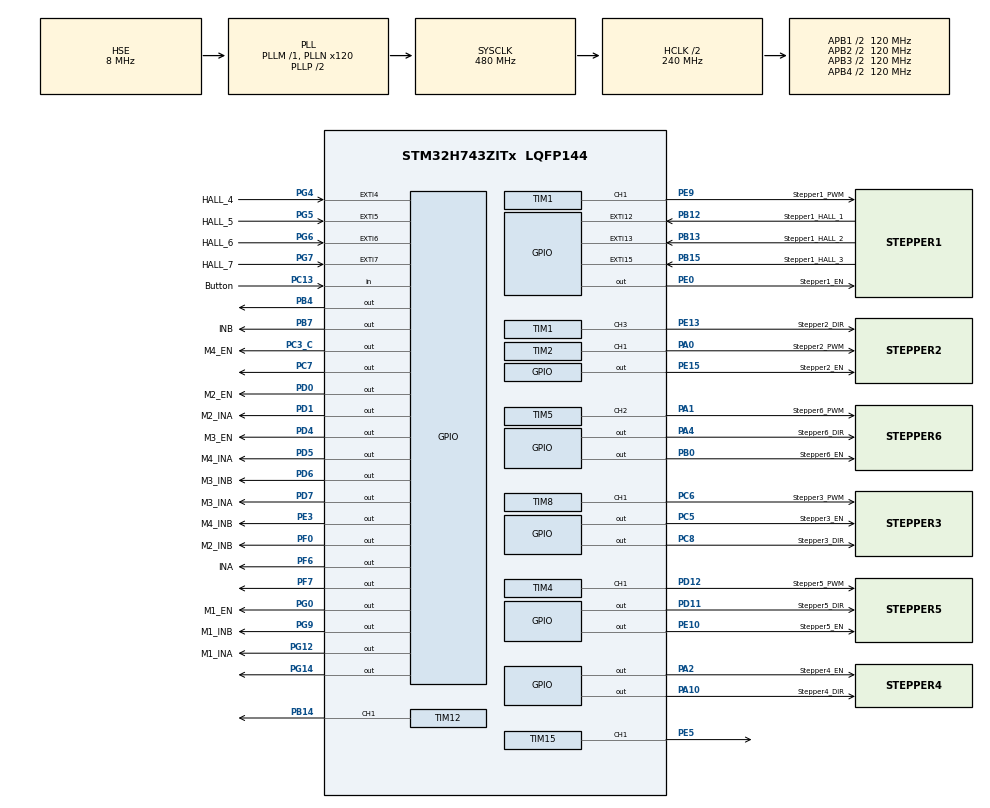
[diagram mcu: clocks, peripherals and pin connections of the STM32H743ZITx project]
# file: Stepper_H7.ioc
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Mcu.Family=STM32H7
Mcu.Name=STM32H743ZITx
Mcu.Package=LQFP144
NVIC.EXTI15_10_IRQn=true\:0\:0\:false\:false\:true\:true\:true
NVIC.EXTI4_IRQn=true\:0\:0\:false\:false\:true\:true\:true
NVIC.EXTI9_5_IRQn=true\:0\:0\:false\:false\:true\:true\:true
NVIC.PriorityGroup=NVIC_PRIORITYGROUP_4
PA0.GPIO_Label=Stepper2_PWM
PA0.Signal=S_TIM2_CH1
PA1.GPIO_Label=Stepper6_PWM
PA1.Signal=S_TIM5_CH2
PA10.GPIO_Label=Stepper4_DIR
PA10.Signal=GPIO_Output
PA13\ (JTMS/SWDIO).Mode=Serial_Wire
PA13\ (JTMS/SWDIO).Signal=DEBUG_JTMS-SWDIO
PA14\ (JTCK/SWCLK).Mode=Serial_Wire
PA14\ (JTCK/SWCLK).Signal=DEBUG_JTCK-SWCLK
PA2.GPIO_Label=Stepper4_EN
PA2.Signal=GPIO_Output
PA4.GPIO_Label=Stepper6_DIR
PA4.Signal=GPIO_Output
PB0.GPIO_Label=Stepper6_EN
PB0.Signal=GPIO_Output
PB12.GPIO_Label=Stepper1_HALL_1
PB12.GPIO_ModeDefaultEXTI=GPIO_MODE_IT_FALLING
PB12.GPIO_PuPd=GPIO_PULLUP
PB12.Signal=GPXTI12
PB13.GPIO_Label=Stepper1_HALL_2
PB13.Signal=GPXTI13
PB14.Signal=S_TIM12_CH1
PB15.GPIO_Label=Stepper1_HALL_3
PB15.GPIO_ModeDefaultEXTI=GPIO_MODE_IT_FALLING
PB15.GPIO_PuPd=GPIO_PULLUP
PB15.Signal=GPXTI15
PB4\ (NJTRST).GPIO_Speed=GPIO_SPEED_FREQ_VERY_HIGH
PB4\ (NJTRST).Signal=GPIO_Output
PB7.GPIO_Label=INB
PB7.Signal=GPIO_Output
PC13.GPIO_Label=Button
PC13.GPIO_PuPd=GPIO_PULLUP
PC13.Signal=GPIO_Input
PC3_C.GPIO_Label=M4_EN
PC3_C.Signal=GPIO_Output
PC5.GPIO_Label=Stepper3_EN
PC5.Signal=GPIO_Output
PC6.GPIO_Label=Stepper3_PWM
PC6.Signal=S_TIM8_CH1
PC7.GPIO_Speed=GPIO_SPEED_FREQ_VERY_HIGH
PC7.Signal=GPIO_Output
PC8.GPIO_Label=Stepper3_DIR
PC8.Signal=GPIO_Output
PD0.GPIO_Label=M2_EN
PD0.Signal=GPIO_Output
PD1.GPIO_Label=M2_INA
PD1.Signal=GPIO_Output
PD11.GPIO_Label=Stepper5_DIR
PD11.Signal=GPIO_Output
PD12.GPIO_Label=Stepper5_PWM
PD12.Signal=S_TIM4_CH1
PD4.GPIO_Label=M3_EN
PD4.Signal=GPIO_Output
PD5.GPIO_Label=M4_INA
PD5.Signal=GPIO_Output
PD6.GPIO_Label=M3_INB
PD6.Signal=GPIO_Output
PD7.GPIO_Label=M3_INA
PD7.Signal=GPIO_Output
PE0.GPIO_Label=Stepper1_EN
PE0.Signal=GPIO_Output
PE10.GPIO_Label=Stepper5_EN
PE10.Signal=GPIO_Output
PE13.GPIO_Label=Stepper2_DIR
PE13.Signal=S_TIM1_CH3
PE15.GPIO_Label=Stepper2_EN
PE15.Signal=GPIO_Output
PE3.GPIO_Label=M4_INB
PE3.Signal=GPIO_Output
PE5.Signal=S_TIM15_CH1
PE9.GPIO_Label=Stepper1_PWM
PE9.Signal=S_TIM1_CH1
PF0.GPIO_Label=M2_INB
PF0.Signal=GPIO_Output
PF6.GPIO_Label=INA
PF6.Signal=GPIO_Output
PF7.Signal=GPIO_Output
PG0.GPIO_Label=M1_EN
PG0.Signal=GPIO_Output
PG12.GPIO_Label=M1_INA
PG12.Signal=GPIO_Output
PG14.Signal=GPIO_Output
PG4.GPIO_Label=HALL_4
PG4.GPIO_ModeDefaultEXTI=GPIO_MODE_IT_FALLING
PG4.GPIO_PuPd=GPIO_PULLUP
PG4.Signal=GPXTI4
PG5.GPIO_Label=HALL_5
PG5.GPIO_PuPd=GPIO_PULLUP
PG5.Signal=GPXTI5
PG6.GPIO_Label=HALL_6
PG6.GPIO_PuPd=GPIO_PULLUP
PG6.Signal=GPXTI6
PG7.GPIO_Label=HALL_7
PG7.GPIO_PuPd=GPIO_PULLUP
PG7.Signal=GPXTI7
PG9.GPIO_Label=M1_INB
PG9.Signal=GPIO_Output
PH0-OSC_IN\ (PH0).Mode=HSE-External-Oscillator
PH0-OSC_IN\ (PH0).Signal=RCC_OSC_IN
PH1-OSC_OUT\ (PH1).Mode=HSE-External-Oscillator
PH1-OSC_OUT\ (PH1).Signal=RCC_OSC_OUT
ProjectManager.HeapSize=0x200
ProjectManager.StackSize=0x400
ProjectManager.TargetToolchain=STM32CubeIDE
RCC.ADCFreq_Value=16125000
RCC.APB1Freq_Value=120000000
RCC.APB2Freq_Value=120000000
RCC.APB3Freq_Value=120000000
RCC.APB4Freq_Value=120000000
RCC.CortexFreq_Value=480000000
RCC.D1PPRE=RCC_APB3_DIV2
RCC.D2PPRE1=RCC_APB1_DIV2
RCC.D2PPRE2=RCC_APB2_DIV2
RCC.D3PPRE=RCC_APB4_DIV2
RCC.DIVM1=1
RCC.DIVN1=120
RCC.HCLKFreq_Value=240000000
RCC.HPRE=RCC_HCLK_DIV2
RCC.HSE_VALUE=8000000
RCC.PLLFRACN=0
RCC.PLLSourceVirtual=RCC_PLLSOURCE_HSE
RCC.SYSCLKFreq_VALUE=480000000
RCC.SYSCLKSource=RCC_SYSCLKSOURCE_PLLCLK
RCC.USBFreq_Value=480000000
SH.S_TIM12_CH1.0=TIM12_CH1,PWM Generation1 CH1
SH.S_TIM15_CH1.0=TIM15_CH1,PWM Generation1 CH1
SH.S_TIM1_CH1.0=TIM1_CH1,PWM Generation1 CH1
SH.S_TIM1_CH3.0=TIM1_CH3,PWM Generation3 CH3
SH.S_TIM2_CH1.0=TIM2_CH1,PWM Generation1 CH1
SH.S_TIM4_CH1.0=TIM4_CH1,PWM Generation1 CH1
SH.S_TIM5_CH2.0=TIM5_CH2,PWM Generation2 CH2
SH.S_TIM8_CH1.0=TIM8_CH1,PWM Generation1 CH1
TIM1.AutoReloadPreload=TIM_AUTORELOAD_PRELOAD_ENABLE
TIM1.Channel-PWM\ Generation1\ CH1=TIM_CHANNEL_1
TIM1.Channel-PWM\ Generation3\ CH3=TIM_CHANNEL_3
TIM1.Period=699
TIM1.Prescaler=5
TIM12.AutoReloadPreload=TIM_AUTORELOAD_PRELOAD_ENABLE
TIM12.Channel-PWM\ Generation1\ CH1=TIM_CHANNEL_1
TIM12.Period=3999
TIM12.Prescaler=5
TIM15.AutoReloadPreload=TIM_AUTORELOAD_PRELOAD_ENABLE
TIM15.Channel-PWM\ Generation1\ CH1=TIM_CHANNEL_1
TIM15.Period=699
TIM15.Prescaler=5
TIM2.AutoReloadPreload=TIM_AUTORELOAD_PRELOAD_ENABLE
TIM2.Channel-PWM\ Generation1\ CH1=TIM_CHANNEL_1
TIM2.Period=699
TIM2.Prescaler=5
TIM4.AutoReloadPreload=TIM_AUTORELOAD_PRELOAD_ENABLE
TIM4.Channel-PWM\ Generation1\ CH1=TIM_CHANNEL_1
TIM4.Period=699
TIM4.Prescaler=5
TIM5.AutoReloadPreload=TIM_AUTORELOAD_PRELOAD_ENABLE
TIM5.Channel-PWM\ Generation2\ CH2=TIM_CHANNEL_2
TIM5.Period=699
TIM5.Prescaler=5
TIM8.Channel-PWM\ Generation1\ CH1=TIM_CHANNEL_1
board=custom

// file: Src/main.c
/* USER CODE BEGIN Header */
/**
  ******************************************************************************
  * @file           : main.c
  * @brief          : Main program body
  * @danger			: Never work with Z-Robotics and DZ
  ******************************************************************************
  * @attention
  *
  * <h2><center>&copy; Copyright (c) 2020 STMicroelectronics.
  * All rights reserved.</center></h2>
  *
  * This software component is licensed by ST under BSD 3-Clause license,
  * the "License"; You may not use this file except in compliance with the
  * License. You may obtain a copy of the License at:
  *                        opensource.org/licenses/BSD-3-Clause
  *
  ******************************************************************************
  */
/* USER CODE END Header */

#include "main.h"

/* USER CODE BEGIN Includes */
#include "stdbool.h"
#include "string.h"
#include "STLib.h"
#include "MotorControl.h"
#include "Stepper.h"
/* USER CODE END Includes */

/* USER CODE BEGIN PD */
#define CW 1
#define CCW 0
#define STOP 2

#define STP1_PWM_PIN GPIO_ODR_OD14
#define STP1_GPIO_PORT GPIOG->ODR

#define INA_GPIO_GROUP GPIOF->ODR
#define INA_PIN GPIO_ODR_OD6

#define EN_GPIO_GROUP GPIOF->ODR
#define EN_PIN GPIO_ODR_OD7

#define INB_GPIO_GROUP GPIOB->ODR
#define INB_PIN GPIO_ODR_OD7

#define BUTTON_STATUS READ_BIT(GPIOC->IDR, GPIO_IDR_ID13);
/* USER CODE END PD */

TIM_HandleTypeDef htim1;
TIM_HandleTypeDef htim2;
TIM_HandleTypeDef htim4;
TIM_HandleTypeDef htim5;
TIM_HandleTypeDef htim8;
TIM_HandleTypeDef htim12;
TIM_HandleTypeDef htim15;

/* USER CODE BEGIN PV */
bool startPose = false;
bool firstStep = false;
bool secondStep = false;
bool thirdStep = false;

bool d_debug_button = false;
/* USER CODE END PV */

void SystemClock_Config(void);
static void MX_GPIO_Init(void);
static void MX_TIM1_Init(void);
static void MX_TIM2_Init(void);
static void MX_TIM4_Init(void);
static void MX_TIM5_Init(void);
static void MX_TIM8_Init(void);
static void MX_TIM12_Init(void);
static void MX_TIM15_Init(void);

int main(void)
{

  /* MCU Configuration--------------------------------------------------------*/

  /* Reset of all peripherals, Initializes the Flash interface and the Systick. */
  HAL_Init();

  /* USER CODE BEGIN Init */
  DWT_Init();
  /* USER CODE END Init */

  /* Configure the system clock */
  SystemClock_Config();

  /* Initialize all configured peripherals */
  MX_GPIO_Init();
  MX_TIM1_Init();
  MX_TIM2_Init();
  MX_TIM4_Init();
  MX_TIM5_Init();
  MX_TIM8_Init();
  MX_TIM12_Init();
  MX_TIM15_Init();
  /* USER CODE BEGIN 2 */

  motorInit();
  // initialization

  TIM15->ARR = 2399;
  TIM15->CCR1 = (TIM15->ARR)/2;
  HAL_TIM_PWM_Start(&htim15, TIM_CHANNEL_1);

//  TIM3->ARR = 8000;
//  TIM3->CCR1 = (TIM3->ARR)/2;
//  TIM3->PSC = 34;

  //HAL_TIM_PWM_Start(&htim3, TIM_CHANNEL_1);
  //CLEAR_BIT(TIM3->CCER, TIM_CCER_CC1E);

  TIM4->ARR = 8000;
  TIM4->CCR1 = (TIM4->ARR)/2;
  TIM4->PSC = 34;
  HAL_TIM_PWM_Start(&htim4, TIM_CHANNEL_1);
  CLEAR_BIT(TIM4->CCER, TIM_CCER_CC1E);

  SET_BIT(GPIOD->ODR, GPIO_ODR_OD11);

  TIM8->ARR = 10000;
  TIM8->PSC = 5;
  TIM8->CCR1 = (TIM8->ARR)/2;
  SET_BIT(GPIOC->ODR, GPIO_ODR_OD5);
  HAL_TIM_PWM_Start(&htim8, TIM_CHANNEL_1);
  CLEAR_BIT(TIM8->CCER, TIM_CCER_CC1E);

  //TIM2->ARR = 3000;
  //TIM2->CCR1 = (TIM2->ARR)/2;
  //HAL_TIM_PWM_Start(&htim2, TIM_CHANNEL_1);

  TIM1->ARR = 3000;
  TIM1->CCR1 = (TIM1->ARR)/2;
  HAL_TIM_PWM_Start(&htim1, TIM_CHANNEL_1);

//  CLEAR_BIT(GPIOC->ODR, GPIO_ODR_OD8);
  /* USER CODE END 2 */

  /* Infinite loop */
  while (1)
  {

    /* USER CODE BEGIN 3 */

	  TIM1->ARR = 3000;
	  TIM1->CCR1 = (TIM1->ARR)/2;
	  SET_BIT(STP1_GPIO_PORT, STP1_PWM_PIN);
	 // motor2_move(CW);
	  SET_BIT(TIM8->CCER, TIM_CCER_CC1E);
	   delay_ms(250);
  /* USER CODE END 3 */
  }
}

void SystemClock_Config(void)
{
  RCC_OscInitTypeDef RCC_OscInitStruct = {0};
  RCC_ClkInitTypeDef RCC_ClkInitStruct = {0};

  /** Supply configuration update enable
  */
  HAL_PWREx_ConfigSupply(PWR_LDO_SUPPLY);
  /** Configure the main internal regulator output voltage
  */
  __HAL_PWR_VOLTAGESCALING_CONFIG(PWR_REGULATOR_VOLTAGE_SCALE0);

  while(!__HAL_PWR_GET_FLAG(PWR_FLAG_VOSRDY)) {}
  /** Initializes the CPU, AHB and APB busses clocks
  */
  RCC_OscInitStruct.OscillatorType = RCC_OSCILLATORTYPE_HSE;
  RCC_OscInitStruct.HSEState = RCC_HSE_ON;
  RCC_OscInitStruct.PLL.PLLState = RCC_PLL_ON;
  RCC_OscInitStruct.PLL.PLLSource = RCC_PLLSOURCE_HSE;
  RCC_OscInitStruct.PLL.PLLM = 1;
  RCC_OscInitStruct.PLL.PLLN = 120;
  RCC_OscInitStruct.PLL.PLLP = 2;
  RCC_OscInitStruct.PLL.PLLQ = 2;
  RCC_OscInitStruct.PLL.PLLR = 2;
  RCC_OscInitStruct.PLL.PLLRGE = RCC_PLL1VCIRANGE_3;
  RCC_OscInitStruct.PLL.PLLVCOSEL = RCC_PLL1VCOWIDE;
  RCC_OscInitStruct.PLL.PLLFRACN = 0;
  if (HAL_RCC_OscConfig(&RCC_OscInitStruct) != HAL_OK)
  {
    Error_Handler();
  }
  /** Initializes the CPU, AHB and APB busses clocks
  */
  RCC_ClkInitStruct.ClockType = RCC_CLOCKTYPE_HCLK|RCC_CLOCKTYPE_SYSCLK
                              |RCC_CLOCKTYPE_PCLK1|RCC_CLOCKTYPE_PCLK2
                              |RCC_CLOCKTYPE_D3PCLK1|RCC_CLOCKTYPE_D1PCLK1;
  RCC_ClkInitStruct.SYSCLKSource = RCC_SYSCLKSOURCE_PLLCLK;
  RCC_ClkInitStruct.SYSCLKDivider = RCC_SYSCLK_DIV1;
  RCC_ClkInitStruct.AHBCLKDivider = RCC_HCLK_DIV2;
  RCC_ClkInitStruct.APB3CLKDivider = RCC_APB3_DIV2;
  RCC_ClkInitStruct.APB1CLKDivider = RCC_APB1_DIV2;
  RCC_ClkInitStruct.APB2CLKDivider = RCC_APB2_DIV2;
  RCC_ClkInitStruct.APB4CLKDivider = RCC_APB4_DIV2;

  if (HAL_RCC_ClockConfig(&RCC_ClkInitStruct, FLASH_LATENCY_4) != HAL_OK)
  {
    Error_Handler();
  }
}

static void MX_TIM1_Init(void)
{

  TIM_MasterConfigTypeDef sMasterConfig = {0};
  TIM_OC_InitTypeDef sConfigOC = {0};
  TIM_BreakDeadTimeConfigTypeDef sBreakDeadTimeConfig = {0};

  htim1.Instance = TIM1;
  htim1.Init.Prescaler = 5;
  htim1.Init.CounterMode = TIM_COUNTERMODE_UP;
  htim1.Init.Period = 699;
  htim1.Init.ClockDivision = TIM_CLOCKDIVISION_DIV1;
  htim1.Init.RepetitionCounter = 0;
  htim1.Init.AutoReloadPreload = TIM_AUTORELOAD_PRELOAD_ENABLE;
  if (HAL_TIM_PWM_Init(&htim1) != HAL_OK)
  {
    Error_Handler();
  }
  sMasterConfig.MasterOutputTrigger = TIM_TRGO_RESET;
  sMasterConfig.MasterOutputTrigger2 = TIM_TRGO2_RESET;
  sMasterConfig.MasterSlaveMode = TIM_MASTERSLAVEMODE_DISABLE;
  if (HAL_TIMEx_MasterConfigSynchronization(&htim1, &sMasterConfig) != HAL_OK)
  {
    Error_Handler();
  }
  sConfigOC.OCMode = TIM_OCMODE_PWM1;
  sConfigOC.Pulse = 0;
  sConfigOC.OCPolarity = TIM_OCPOLARITY_HIGH;
  sConfigOC.OCNPolarity = TIM_OCNPOLARITY_HIGH;
  sConfigOC.OCFastMode = TIM_OCFAST_DISABLE;
  sConfigOC.OCIdleState = TIM_OCIDLESTATE_RESET;
  sConfigOC.OCNIdleState = TIM_OCNIDLESTATE_RESET;
  if (HAL_TIM_PWM_ConfigChannel(&htim1, &sConfigOC, TIM_CHANNEL_1) != HAL_OK)
  {
    Error_Handler();
  }
  if (HAL_TIM_PWM_ConfigChannel(&htim1, &sConfigOC, TIM_CHANNEL_3) != HAL_OK)
  {
    Error_Handler();
  }
  sBreakDeadTimeConfig.OffStateRunMode = TIM_OSSR_DISABLE;
  sBreakDeadTimeConfig.OffStateIDLEMode = TIM_OSSI_DISABLE;
  sBreakDeadTimeConfig.LockLevel = TIM_LOCKLEVEL_OFF;
  sBreakDeadTimeConfig.DeadTime = 0;
  sBreakDeadTimeConfig.BreakState = TIM_BREAK_DISABLE;
  sBreakDeadTimeConfig.BreakPolarity = TIM_BREAKPOLARITY_HIGH;
  sBreakDeadTimeConfig.BreakFilter = 0;
  sBreakDeadTimeConfig.Break2State = TIM_BREAK2_DISABLE;
  sBreakDeadTimeConfig.Break2Polarity = TIM_BREAK2POLARITY_HIGH;
  sBreakDeadTimeConfig.Break2Filter = 0;
  sBreakDeadTimeConfig.AutomaticOutput = TIM_AUTOMATICOUTPUT_DISABLE;
  if (HAL_TIMEx_ConfigBreakDeadTime(&htim1, &sBreakDeadTimeConfig) != HAL_OK)
  {
    Error_Handler();
  }
  HAL_TIM_MspPostInit(&htim1);

}

static void MX_TIM2_Init(void)
{

  TIM_MasterConfigTypeDef sMasterConfig = {0};
  TIM_OC_InitTypeDef sConfigOC = {0};

  htim2.Instance = TIM2;
  htim2.Init.Prescaler = 5;
  htim2.Init.CounterMode = TIM_COUNTERMODE_UP;
  htim2.Init.Period = 699;
  htim2.Init.ClockDivision = TIM_CLOCKDIVISION_DIV1;
  htim2.Init.AutoReloadPreload = TIM_AUTORELOAD_PRELOAD_ENABLE;
  if (HAL_TIM_PWM_Init(&htim2) != HAL_OK)
  {
    Error_Handler();
  }
  sMasterConfig.MasterOutputTrigger = TIM_TRGO_RESET;
  sMasterConfig.MasterSlaveMode = TIM_MASTERSLAVEMODE_DISABLE;
  if (HAL_TIMEx_MasterConfigSynchronization(&htim2, &sMasterConfig) != HAL_OK)
  {
    Error_Handler();
  }
  sConfigOC.OCMode = TIM_OCMODE_PWM1;
  sConfigOC.Pulse = 0;
  sConfigOC.OCPolarity = TIM_OCPOLARITY_HIGH;
  sConfigOC.OCFastMode = TIM_OCFAST_DISABLE;
  if (HAL_TIM_PWM_ConfigChannel(&htim2, &sConfigOC, TIM_CHANNEL_1) != HAL_OK)
  {
    Error_Handler();
  }
  HAL_TIM_MspPostInit(&htim2);

}

static void MX_TIM4_Init(void)
{

  TIM_MasterConfigTypeDef sMasterConfig = {0};
  TIM_OC_InitTypeDef sConfigOC = {0};

  htim4.Instance = TIM4;
  htim4.Init.Prescaler = 5;
  htim4.Init.CounterMode = TIM_COUNTERMODE_UP;
  htim4.Init.Period = 699;
  htim4.Init.ClockDivision = TIM_CLOCKDIVISION_DIV1;
  htim4.Init.AutoReloadPreload = TIM_AUTORELOAD_PRELOAD_ENABLE;
  if (HAL_TIM_PWM_Init(&htim4) != HAL_OK)
  {
    Error_Handler();
  }
  sMasterConfig.MasterOutputTrigger = TIM_TRGO_RESET;
  sMasterConfig.MasterSlaveMode = TIM_MASTERSLAVEMODE_DISABLE;
  if (HAL_TIMEx_MasterConfigSynchronization(&htim4, &sMasterConfig) != HAL_OK)
  {
    Error_Handler();
  }
  sConfigOC.OCMode = TIM_OCMODE_PWM1;
  sConfigOC.Pulse = 0;
  sConfigOC.OCPolarity = TIM_OCPOLARITY_HIGH;
  sConfigOC.OCFastMode = TIM_OCFAST_DISABLE;
  if (HAL_TIM_PWM_ConfigChannel(&htim4, &sConfigOC, TIM_CHANNEL_1) != HAL_OK)
  {
    Error_Handler();
  }
  HAL_TIM_MspPostInit(&htim4);

}

static void MX_TIM5_Init(void)
{

  TIM_MasterConfigTypeDef sMasterConfig = {0};
  TIM_OC_InitTypeDef sConfigOC = {0};

  htim5.Instance = TIM5;
  htim5.Init.Prescaler = 5;
  htim5.Init.CounterMode = TIM_COUNTERMODE_UP;
  htim5.Init.Period = 699;
  htim5.Init.ClockDivision = TIM_CLOCKDIVISION_DIV1;
  htim5.Init.AutoReloadPreload = TIM_AUTORELOAD_PRELOAD_ENABLE;
  if (HAL_TIM_PWM_Init(&htim5) != HAL_OK)
  {
    Error_Handler();
  }
  sMasterConfig.MasterOutputTrigger = TIM_TRGO_RESET;
  sMasterConfig.MasterSlaveMode = TIM_MASTERSLAVEMODE_DISABLE;
  if (HAL_TIMEx_MasterConfigSynchronization(&htim5, &sMasterConfig) != HAL_OK)
  {
    Error_Handler();
  }
  sConfigOC.OCMode = TIM_OCMODE_PWM1;
  sConfigOC.Pulse = 0;
  sConfigOC.OCPolarity = TIM_OCPOLARITY_HIGH;
  sConfigOC.OCFastMode = TIM_OCFAST_DISABLE;
  if (HAL_TIM_PWM_ConfigChannel(&htim5, &sConfigOC, TIM_CHANNEL_2) != HAL_OK)
  {
    Error_Handler();
  }
  HAL_TIM_MspPostInit(&htim5);

}

static void MX_TIM8_Init(void)
{

  TIM_MasterConfigTypeDef sMasterConfig = {0};
  TIM_OC_InitTypeDef sConfigOC = {0};
  TIM_BreakDeadTimeConfigTypeDef sBreakDeadTimeConfig = {0};

  htim8.Instance = TIM8;
  htim8.Init.Prescaler = 0;
  htim8.Init.CounterMode = TIM_COUNTERMODE_UP;
  htim8.Init.Period = 0;
  htim8.Init.ClockDivision = TIM_CLOCKDIVISION_DIV1;
  htim8.Init.RepetitionCounter = 0;
  htim8.Init.AutoReloadPreload = TIM_AUTORELOAD_PRELOAD_DISABLE;
  if (HAL_TIM_PWM_Init(&htim8) != HAL_OK)
  {
    Error_Handler();
  }
  sMasterConfig.MasterOutputTrigger = TIM_TRGO_RESET;
  sMasterConfig.MasterOutputTrigger2 = TIM_TRGO2_RESET;
  sMasterConfig.MasterSlaveMode = TIM_MASTERSLAVEMODE_DISABLE;
  if (HAL_TIMEx_MasterConfigSynchronization(&htim8, &sMasterConfig) != HAL_OK)
  {
    Error_Handler();
  }
  sConfigOC.OCMode = TIM_OCMODE_PWM1;
  sConfigOC.Pulse = 0;
  sConfigOC.OCPolarity = TIM_OCPOLARITY_HIGH;
  sConfigOC.OCNPolarity = TIM_OCNPOLARITY_HIGH;
  sConfigOC.OCFastMode = TIM_OCFAST_DISABLE;
  sConfigOC.OCIdleState = TIM_OCIDLESTATE_RESET;
  sConfigOC.OCNIdleState = TIM_OCNIDLESTATE_RESET;
  if (HAL_TIM_PWM_ConfigChannel(&htim8, &sConfigOC, TIM_CHANNEL_1) != HAL_OK)
  {
    Error_Handler();
  }
  sBreakDeadTimeConfig.OffStateRunMode = TIM_OSSR_DISABLE;
  sBreakDeadTimeConfig.OffStateIDLEMode = TIM_OSSI_DISABLE;
  sBreakDeadTimeConfig.LockLevel = TIM_LOCKLEVEL_OFF;
  sBreakDeadTimeConfig.DeadTime = 0;
  sBreakDeadTimeConfig.BreakState = TIM_BREAK_DISABLE;
  sBreakDeadTimeConfig.BreakPolarity = TIM_BREAKPOLARITY_HIGH;
  sBreakDeadTimeConfig.BreakFilter = 0;
  sBreakDeadTimeConfig.Break2State = TIM_BREAK2_DISABLE;
  sBreakDeadTimeConfig.Break2Polarity = TIM_BREAK2POLARITY_HIGH;
  sBreakDeadTimeConfig.Break2Filter = 0;
  sBreakDeadTimeConfig.AutomaticOutput = TIM_AUTOMATICOUTPUT_DISABLE;
  if (HAL_TIMEx_ConfigBreakDeadTime(&htim8, &sBreakDeadTimeConfig) != HAL_OK)
  {
    Error_Handler();
  }
  HAL_TIM_MspPostInit(&htim8);

}

static void MX_TIM12_Init(void)
{

  TIM_OC_InitTypeDef sConfigOC = {0};

  htim12.Instance = TIM12;
  htim12.Init.Prescaler = 5;
  htim12.Init.CounterMode = TIM_COUNTERMODE_UP;
  htim12.Init.Period = 3999;
  htim12.Init.ClockDivision = TIM_CLOCKDIVISION_DIV1;
  htim12.Init.AutoReloadPreload = TIM_AUTORELOAD_PRELOAD_ENABLE;
  if (HAL_TIM_PWM_Init(&htim12) != HAL_OK)
  {
    Error_Handler();
  }
  sConfigOC.OCMode = TIM_OCMODE_PWM1;
  sConfigOC.Pulse = 0;
  sConfigOC.OCPolarity = TIM_OCPOLARITY_HIGH;
  sConfigOC.OCFastMode = TIM_OCFAST_DISABLE;
  if (HAL_TIM_PWM_ConfigChannel(&htim12, &sConfigOC, TIM_CHANNEL_1) != HAL_OK)
  {
    Error_Handler();
  }
  HAL_TIM_MspPostInit(&htim12);

}

static void MX_TIM15_Init(void)
{

  TIM_MasterConfigTypeDef sMasterConfig = {0};
  TIM_OC_InitTypeDef sConfigOC = {0};
  TIM_BreakDeadTimeConfigTypeDef sBreakDeadTimeConfig = {0};

  htim15.Instance = TIM15;
  htim15.Init.Prescaler = 5;
  htim15.Init.CounterMode = TIM_COUNTERMODE_UP;
  htim15.Init.Period = 699;
  htim15.Init.ClockDivision = TIM_CLOCKDIVISION_DIV1;
  htim15.Init.RepetitionCounter = 0;
  htim15.Init.AutoReloadPreload = TIM_AUTORELOAD_PRELOAD_ENABLE;
  if (HAL_TIM_PWM_Init(&htim15) != HAL_OK)
  {
    Error_Handler();
  }
  sMasterConfig.MasterOutputTrigger = TIM_TRGO_RESET;
  sMasterConfig.MasterSlaveMode = TIM_MASTERSLAVEMODE_DISABLE;
  if (HAL_TIMEx_MasterConfigSynchronization(&htim15, &sMasterConfig) != HAL_OK)
  {
    Error_Handler();
  }
  sConfigOC.OCMode = TIM_OCMODE_PWM1;
  sConfigOC.Pulse = 0;
  sConfigOC.OCPolarity = TIM_OCPOLARITY_HIGH;
  sConfigOC.OCNPolarity = TIM_OCNPOLARITY_HIGH;
  sConfigOC.OCFastMode = TIM_OCFAST_DISABLE;
  sConfigOC.OCIdleState = TIM_OCIDLESTATE_RESET;
  sConfigOC.OCNIdleState = TIM_OCNIDLESTATE_RESET;
  if (HAL_TIM_PWM_ConfigChannel(&htim15, &sConfigOC, TIM_CHANNEL_1) != HAL_OK)
  {
    Error_Handler();
  }
  sBreakDeadTimeConfig.OffStateRunMode = TIM_OSSR_DISABLE;
  sBreakDeadTimeConfig.OffStateIDLEMode = TIM_OSSI_DISABLE;
  sBreakDeadTimeConfig.LockLevel = TIM_LOCKLEVEL_OFF;
  sBreakDeadTimeConfig.DeadTime = 0;
  sBreakDeadTimeConfig.BreakState = TIM_BREAK_DISABLE;
  sBreakDeadTimeConfig.BreakPolarity = TIM_BREAKPOLARITY_HIGH;
  sBreakDeadTimeConfig.BreakFilter = 0;
  sBreakDeadTimeConfig.AutomaticOutput = TIM_AUTOMATICOUTPUT_DISABLE;
  if (HAL_TIMEx_ConfigBreakDeadTime(&htim15, &sBreakDeadTimeConfig) != HAL_OK)
  {
    Error_Handler();
  }
  HAL_TIM_MspPostInit(&htim15);

}

static void MX_GPIO_Init(void)
{
  GPIO_InitTypeDef GPIO_InitStruct = {0};

  /* GPIO Ports Clock Enable */
  __HAL_RCC_GPIOE_CLK_ENABLE();
  __HAL_RCC_GPIOC_CLK_ENABLE();
  __HAL_RCC_GPIOF_CLK_ENABLE();
  __HAL_RCC_GPIOH_CLK_ENABLE();
  __HAL_RCC_GPIOA_CLK_ENABLE();
  __HAL_RCC_GPIOB_CLK_ENABLE();
  __HAL_RCC_GPIOG_CLK_ENABLE();
  __HAL_RCC_GPIOD_CLK_ENABLE();

  /*Configure GPIO pin Output Level */
  HAL_GPIO_WritePin(GPIOE, M4_INB_Pin|Stepper5_EN_Pin|Stepper2_EN_Pin|Stepper1_EN_Pin, GPIO_PIN_RESET);

  /*Configure GPIO pin Output Level */
  HAL_GPIO_WritePin(GPIOF, M2_INB_Pin|INA_Pin|GPIO_PIN_7, GPIO_PIN_RESET);

  /*Configure GPIO pin Output Level */
  HAL_GPIO_WritePin(GPIOC, M4_EN_Pin|Stepper3_EN_Pin|GPIO_PIN_7|Stepper3_DIR_Pin, GPIO_PIN_RESET);

  /*Configure GPIO pin Output Level */
  HAL_GPIO_WritePin(GPIOA, Stepper4_EN_Pin|Stepper6_DIR_Pin|Stepper4_DIR_Pin, GPIO_PIN_RESET);

  /*Configure GPIO pin Output Level */
  HAL_GPIO_WritePin(GPIOB, Stepper6_EN_Pin|GPIO_PIN_4|INB_Pin, GPIO_PIN_RESET);

  /*Configure GPIO pin Output Level */
  HAL_GPIO_WritePin(GPIOG, M1_EN_Pin|M1_INB_Pin|M1_INA_Pin|GPIO_PIN_14, GPIO_PIN_RESET);

  /*Configure GPIO pin Output Level */
  HAL_GPIO_WritePin(GPIOD, Stepper5_DIR_Pin|M2_EN_Pin|M2_INA_Pin|M3_EN_Pin
                          |M4_INA_Pin|M3_INB_Pin|M3_INA_Pin, GPIO_PIN_RESET);

  /*Configure GPIO pins : M4_INB_Pin Stepper5_EN_Pin Stepper2_EN_Pin Stepper1_EN_Pin */
  GPIO_InitStruct.Pin = M4_INB_Pin|Stepper5_EN_Pin|Stepper2_EN_Pin|Stepper1_EN_Pin;
  GPIO_InitStruct.Mode = GPIO_MODE_OUTPUT_PP;
  GPIO_InitStruct.Pull = GPIO_NOPULL;
  GPIO_InitStruct.Speed = GPIO_SPEED_FREQ_LOW;
  HAL_GPIO_Init(GPIOE, &GPIO_InitStruct);

  /*Configure GPIO pin : Button_Pin */
  GPIO_InitStruct.Pin = Button_Pin;
  GPIO_InitStruct.Mode = GPIO_MODE_INPUT;
  GPIO_InitStruct.Pull = GPIO_NOPULL;
  HAL_GPIO_Init(Button_GPIO_Port, &GPIO_InitStruct);

  /*Configure GPIO pins : M2_INB_Pin INA_Pin PF7 */
  GPIO_InitStruct.Pin = M2_INB_Pin|INA_Pin|GPIO_PIN_7;
  GPIO_InitStruct.Mode = GPIO_MODE_OUTPUT_PP;
  GPIO_InitStruct.Pull = GPIO_NOPULL;
  GPIO_InitStruct.Speed = GPIO_SPEED_FREQ_LOW;
  HAL_GPIO_Init(GPIOF, &GPIO_InitStruct);

  /*Configure GPIO pins : M4_EN_Pin Stepper3_EN_Pin Stepper3_DIR_Pin */
  GPIO_InitStruct.Pin = M4_EN_Pin|Stepper3_EN_Pin|Stepper3_DIR_Pin;
  GPIO_InitStruct.Mode = GPIO_MODE_OUTPUT_PP;
  GPIO_InitStruct.Pull = GPIO_NOPULL;
  GPIO_InitStruct.Speed = GPIO_SPEED_FREQ_LOW;
  HAL_GPIO_Init(GPIOC, &GPIO_InitStruct);

  /*Configure GPIO pins : Stepper4_EN_Pin Stepper6_DIR_Pin Stepper4_DIR_Pin */
  GPIO_InitStruct.Pin = Stepper4_EN_Pin|Stepper6_DIR_Pin|Stepper4_DIR_Pin;
  GPIO_InitStruct.Mode = GPIO_MODE_OUTPUT_PP;
  GPIO_InitStruct.Pull = GPIO_NOPULL;
  GPIO_InitStruct.Speed = GPIO_SPEED_FREQ_LOW;
  HAL_GPIO_Init(GPIOA, &GPIO_InitStruct);

  /*Configure GPIO pins : Stepper6_EN_Pin INB_Pin */
  GPIO_InitStruct.Pin = Stepper6_EN_Pin|INB_Pin;
  GPIO_InitStruct.Mode = GPIO_MODE_OUTPUT_PP;
  GPIO_InitStruct.Pull = GPIO_NOPULL;
  GPIO_InitStruct.Speed = GPIO_SPEED_FREQ_LOW;
  HAL_GPIO_Init(GPIOB, &GPIO_InitStruct);

  /*Configure GPIO pins : M1_EN_Pin M1_INB_Pin M1_INA_Pin PG14 */
  GPIO_InitStruct.Pin = M1_EN_Pin|M1_INB_Pin|M1_INA_Pin|GPIO_PIN_14;
  GPIO_InitStruct.Mode = GPIO_MODE_OUTPUT_PP;
  GPIO_InitStruct.Pull = GPIO_NOPULL;
  GPIO_InitStruct.Speed = GPIO_SPEED_FREQ_LOW;
  HAL_GPIO_Init(GPIOG, &GPIO_InitStruct);

  /*Configure GPIO pins : Stepper1_HALL_1_Pin Stepper1_HALL_3_Pin */
  GPIO_InitStruct.Pin = Stepper1_HALL_1_Pin|Stepper1_HALL_3_Pin;
  GPIO_InitStruct.Mode = GPIO_MODE_IT_FALLING;
  GPIO_InitStruct.Pull = GPIO_PULLUP;
  HAL_GPIO_Init(GPIOB, &GPIO_InitStruct);

  /*Configure GPIO pin : Stepper1_HALL_2_Pin */
  GPIO_InitStruct.Pin = Stepper1_HALL_2_Pin;
  GPIO_InitStruct.Mode = GPIO_MODE_IT_RISING;
  GPIO_InitStruct.Pull = GPIO_NOPULL;
  HAL_GPIO_Init(Stepper1_HALL_2_GPIO_Port, &GPIO_InitStruct);

  /*Configure GPIO pins : Stepper5_DIR_Pin M2_EN_Pin M2_INA_Pin M3_EN_Pin
                           M4_INA_Pin M3_INB_Pin M3_INA_Pin */
  GPIO_InitStruct.Pin = Stepper5_DIR_Pin|M2_EN_Pin|M2_INA_Pin|M3_EN_Pin
                          |M4_INA_Pin|M3_INB_Pin|M3_INA_Pin;
  GPIO_InitStruct.Mode = GPIO_MODE_OUTPUT_PP;
  GPIO_InitStruct.Pull = GPIO_NOPULL;
  GPIO_InitStruct.Speed = GPIO_SPEED_FREQ_LOW;
  HAL_GPIO_Init(GPIOD, &GPIO_InitStruct);

  /*Configure GPIO pin : HALL_4_Pin */
  GPIO_InitStruct.Pin = HALL_4_Pin;
  GPIO_InitStruct.Mode = GPIO_MODE_IT_FALLING;
  GPIO_InitStruct.Pull = GPIO_PULLUP;
  HAL_GPIO_Init(HALL_4_GPIO_Port, &GPIO_InitStruct);

  /*Configure GPIO pins : HALL_5_Pin HALL_6_Pin HALL_7_Pin */
  GPIO_InitStruct.Pin = HALL_5_Pin|HALL_6_Pin|HALL_7_Pin;
  GPIO_InitStruct.Mode = GPIO_MODE_IT_RISING;
  GPIO_InitStruct.Pull = GPIO_PULLUP;
  HAL_GPIO_Init(GPIOG, &GPIO_InitStruct);

  /*Configure GPIO pin : PC7 */
  GPIO_InitStruct.Pin = GPIO_PIN_7;
  GPIO_InitStruct.Mode = GPIO_MODE_OUTPUT_PP;
  GPIO_InitStruct.Pull = GPIO_NOPULL;
  GPIO_InitStruct.Speed = GPIO_SPEED_FREQ_VERY_HIGH;
  HAL_GPIO_Init(GPIOC, &GPIO_InitStruct);

  /*Configure GPIO pin : PB4 */
  GPIO_InitStruct.Pin = GPIO_PIN_4;
  GPIO_InitStruct.Mode = GPIO_MODE_OUTPUT_PP;
  GPIO_InitStruct.Pull = GPIO_NOPULL;
  GPIO_InitStruct.Speed = GPIO_SPEED_FREQ_VERY_HIGH;
  HAL_GPIO_Init(GPIOB, &GPIO_InitStruct);

  /* EXTI interrupt init*/
  HAL_NVIC_SetPriority(EXTI4_IRQn, 0, 0);
  HAL_NVIC_EnableIRQ(EXTI4_IRQn);

  HAL_NVIC_SetPriority(EXTI9_5_IRQn, 0, 0);
  HAL_NVIC_EnableIRQ(EXTI9_5_IRQn);

  HAL_NVIC_SetPriority(EXTI15_10_IRQn, 0, 0);
  HAL_NVIC_EnableIRQ(EXTI15_10_IRQn);

}

void Error_Handler(void)
{
  /* USER CODE BEGIN Error_Handler_Debug */
  //* @danger			: Never work with Z-Robotics and DZ
  /* User can add his own implementation to report the HAL error return state */

  /* USER CODE END Error_Handler_Debug */
}

/************************ (C) COPYRIGHT STMicroelectronics *****END OF FILE****/
